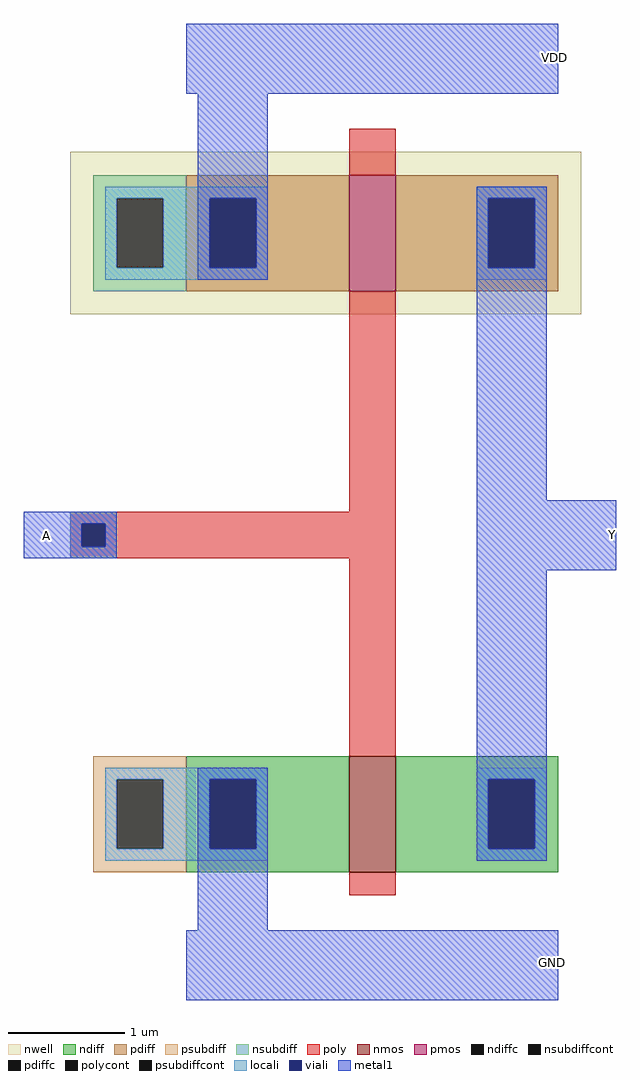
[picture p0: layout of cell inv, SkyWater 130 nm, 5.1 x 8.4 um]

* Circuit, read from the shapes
.subckt inv A Y
XM1 Y A GND GND sky130_fd_pr__nfet_01v8 w=1 l=0.4
XM2 Y A VDD VDD sky130_fd_pr__pfet_01v8 w=1 l=0.4
.ends

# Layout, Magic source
magic
tech sky130A
<< nwell >>
rect -100 480 340 620
<< nmos >>
rect 140 0 180 100
<< pmos >>
rect 140 500 180 600
<< ndiff >>
rect 0 80 140 100
rect 0 20 20 80
rect 60 20 140 80
rect 0 0 140 20
rect 180 80 320 100
rect 180 20 260 80
rect 300 20 320 80
rect 180 0 320 20
<< pdiff >>
rect 0 580 140 600
rect 0 520 20 580
rect 60 520 140 580
rect 0 500 140 520
rect 180 580 320 600
rect 180 520 260 580
rect 300 520 320 580
rect 180 500 320 520
<< ndiffc >>
rect 20 20 60 80
rect 260 20 300 80
<< pdiffc >>
rect 20 520 60 580
rect 260 520 300 580
<< psubdiff >>
rect -80 80 0 100
rect -80 20 -60 80
rect -20 20 0 80
rect -80 0 0 20
<< nsubdiff >>
rect -80 580 0 600
rect -80 520 -60 580
rect -20 520 0 580
rect -80 500 0 520
<< psubdiffcont >>
rect -60 20 -20 80
<< nsubdiffcont >>
rect -60 520 -20 580
<< poly >>
rect 140 600 180 640
rect 140 310 180 500
rect -100 300 180 310
rect -100 280 -90 300
rect -70 280 180 300
rect -100 270 180 280
rect 140 100 180 270
rect 140 -20 180 0
<< polycont >>
rect -90 280 -70 300
<< locali >>
rect -70 580 70 590
rect -70 520 -60 580
rect -20 520 20 580
rect 60 520 70 580
rect -70 510 70 520
rect 250 580 310 590
rect 250 520 260 580
rect 300 520 310 580
rect 250 510 310 520
rect -100 300 -60 310
rect -100 280 -90 300
rect -70 280 -60 300
rect -100 270 -60 280
rect -70 80 70 90
rect -70 20 -60 80
rect -20 20 20 80
rect 60 20 70 80
rect -70 10 70 20
rect 250 80 310 90
rect 250 20 260 80
rect 300 20 310 80
rect 250 10 310 20
<< viali >>
rect 20 520 60 580
rect 260 520 300 580
rect -90 280 -70 300
rect 20 20 60 80
rect 260 20 300 80
<< metal1 >>
rect 0 670 320 730
rect 10 580 70 670
rect 10 520 20 580
rect 60 520 70 580
rect 10 510 70 520
rect 250 580 310 590
rect 250 520 260 580
rect 300 520 310 580
rect 250 320 310 520
rect -140 300 -60 310
rect -140 280 -90 300
rect -70 280 -60 300
rect -140 270 -60 280
rect 250 260 370 320
rect 10 80 70 90
rect 10 20 20 80
rect 60 20 70 80
rect 10 -50 70 20
rect 250 80 310 260
rect 250 20 260 80
rect 300 20 310 80
rect 250 10 310 20
rect 0 -110 320 -50
<< labels >>
rlabel metal1 316 700 317 702 1 VDD
rlabel metal1 315 -79 316 -77 1 GND
rlabel metal1 366 291 367 291 1 Y
port 2 n
rlabel metal1 -120 290 -120 290 1 A
port 1 n
<< end >>
